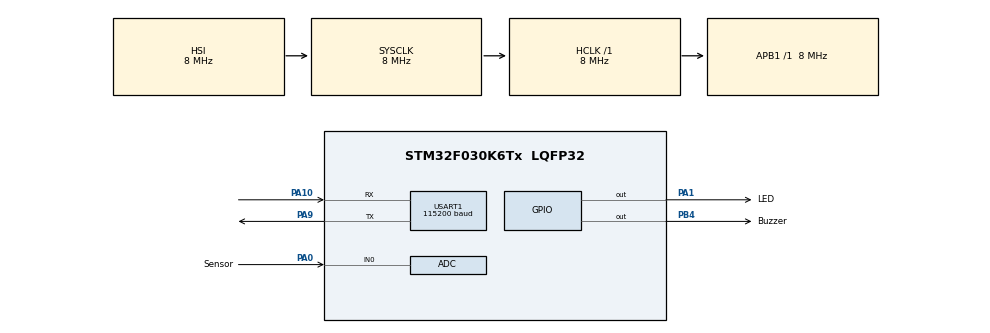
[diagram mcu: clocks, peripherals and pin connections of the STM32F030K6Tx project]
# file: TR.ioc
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Mcu.Family=STM32F0
PA10.Mode=Asynchronous
USART1.BaudRate=115200
PA0.GPIO_Label=Sensor
ProjectManager.StackSize=0x400
USART1.VirtualMode-Asynchronous=VM_ASYNC
PA9.Mode=Asynchronous
ProjectManager.TargetToolchain=STM32CubeIDE
RCC.HCLKFreq_Value=8000000
PA9.Signal=USART1_TX
PA1.Signal=GPIO_Output
RCC.AHBFreq_Value=8000000
board=custom
RCC.PLLMUL=RCC_PLL_MUL12
PB4.GPIO_Label=Buzzer
PA1.GPIO_Label=LED
PA0.Mode=IN0
Mcu.Name=STM32F030K6Tx
PA0.Signal=ADC_IN0
RCC.SYSCLKFreq_VALUE=8000000
Mcu.Package=LQFP32
PA10.Signal=USART1_RX
ProjectManager.HeapSize=0x200
RCC.APB1TimFreq_Value=8000000
RCC.APB1Freq_Value=8000000
PB4.Signal=GPIO_Output

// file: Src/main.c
/* USER CODE BEGIN Header */
/**
  ******************************************************************************
  * @file           : main.c
  * @brief          : Main program body
  ******************************************************************************
  * @attention
  *
  * <h2><center>&copy; Copyright (c) 2021 STMicroelectronics.
  * All rights reserved.</center></h2>
  *
  * This software component is licensed by ST under BSD 3-Clause license,
  * the "License"; You may not use this file except in compliance with the
  * License. You may obtain a copy of the License at:
  *                        opensource.org/licenses/BSD-3-Clause
  *
  ******************************************************************************
  */
/* USER CODE END Header */
#include "main.h"
#include "string.h"
#include <stdio.h>

/* USER CODE BEGIN PD */
#define VREF 5000
#define RL 5
#define RO 10
/* USER CODE END PD */

ADC_HandleTypeDef hadc;

UART_HandleTypeDef huart1;

int __io_putchar(int ch){
	HAL_UART_Transmit(&huart1, (uint8_t*)&ch, 1, 0xFFFF);
}
void SystemClock_Config(void);
static void MX_GPIO_Init(void);
static void MX_ADC_Init(void);
static void MX_USART1_UART_Init(void);

int main(void)
{

  /* MCU Configuration--------------------------------------------------------*/

  /* Reset of all peripherals, Initializes the Flash interface and the Systick. */
  HAL_Init();

  /* Configure the system clock */
  SystemClock_Config();

  /* Initialize all configured peripherals */
  MX_GPIO_Init();
  MX_ADC_Init();
  MX_USART1_UART_Init();

  /* Infinite loop */
  /* USER CODE BEGIN WHILE */
  while (1)
  {
      HAL_ADC_Start(&hadc);
      HAL_ADC_PollForConversion(&hadc, -1);
      int adc = HAL_ADC_GetValue(&hadc);
      HAL_ADC_Stop(&hadc);
      int voltage = (adc * 3300) >> 12;//Vadc*1000

      int voltage_dec = voltage / 1000;
      int voltage_frac = voltage % 1000;

      int Rs = VREF * RL / voltage - RL;//Сопротивление датчика в момент измерения
      int ratio_dec = Rs / RO;
      int ratio_frac = Rs % RO;
      int ratio = ratio_dec*10000 + ratio_frac;

      if (25000 >= ratio){
    	  HAL_GPIO_WritePin(GPIOA, LED_Pin, GPIO_PIN_SET);
    	  HAL_GPIO_WritePin(GPIOB, Buzzer_Pin, GPIO_PIN_SET);
      }else{
    	  HAL_GPIO_WritePin(GPIOB, Buzzer_Pin, GPIO_PIN_RESET);
    	  HAL_GPIO_WritePin(GPIOA, LED_Pin, GPIO_PIN_RESET);
      }
	  printf("voltage = %d.%d ratio = %d.%d\r\n", voltage_dec, voltage_frac, ratio_dec, ratio_frac);

	  HAL_Delay(500);
    /* USER CODE END WHILE */

  }
}

void SystemClock_Config(void)
{
  RCC_OscInitTypeDef RCC_OscInitStruct = {0};
  RCC_ClkInitTypeDef RCC_ClkInitStruct = {0};
  RCC_PeriphCLKInitTypeDef PeriphClkInit = {0};

  /** Initializes the RCC Oscillators according to the specified parameters
  * in the RCC_OscInitTypeDef structure.
  */
  RCC_OscInitStruct.OscillatorType = RCC_OSCILLATORTYPE_HSI|RCC_OSCILLATORTYPE_HSI14;
  RCC_OscInitStruct.HSIState = RCC_HSI_ON;
  RCC_OscInitStruct.HSI14State = RCC_HSI14_ON;
  RCC_OscInitStruct.HSICalibrationValue = RCC_HSICALIBRATION_DEFAULT;
  RCC_OscInitStruct.HSI14CalibrationValue = 16;
  RCC_OscInitStruct.PLL.PLLState = RCC_PLL_NONE;
  if (HAL_RCC_OscConfig(&RCC_OscInitStruct) != HAL_OK)
  {
    Error_Handler();
  }
  /** Initializes the CPU, AHB and APB buses clocks
  */
  RCC_ClkInitStruct.ClockType = RCC_CLOCKTYPE_HCLK|RCC_CLOCKTYPE_SYSCLK
                              |RCC_CLOCKTYPE_PCLK1;
  RCC_ClkInitStruct.SYSCLKSource = RCC_SYSCLKSOURCE_HSI;
  RCC_ClkInitStruct.AHBCLKDivider = RCC_SYSCLK_DIV1;
  RCC_ClkInitStruct.APB1CLKDivider = RCC_HCLK_DIV1;

  if (HAL_RCC_ClockConfig(&RCC_ClkInitStruct, FLASH_LATENCY_0) != HAL_OK)
  {
    Error_Handler();
  }
  PeriphClkInit.PeriphClockSelection = RCC_PERIPHCLK_USART1;
  PeriphClkInit.Usart1ClockSelection = RCC_USART1CLKSOURCE_PCLK1;
  if (HAL_RCCEx_PeriphCLKConfig(&PeriphClkInit) != HAL_OK)
  {
    Error_Handler();
  }
}

static void MX_ADC_Init(void)
{

  ADC_ChannelConfTypeDef sConfig = {0};

  /** Configure the global features of the ADC (Clock, Resolution, Data Alignment and number of conversion)
  */
  hadc.Instance = ADC1;
  hadc.Init.ClockPrescaler = ADC_CLOCK_ASYNC_DIV1;
  hadc.Init.Resolution = ADC_RESOLUTION_12B;
  hadc.Init.DataAlign = ADC_DATAALIGN_RIGHT;
  hadc.Init.ScanConvMode = ADC_SCAN_DIRECTION_FORWARD;
  hadc.Init.EOCSelection = ADC_EOC_SINGLE_CONV;
  hadc.Init.LowPowerAutoWait = DISABLE;
  hadc.Init.LowPowerAutoPowerOff = DISABLE;
  hadc.Init.ContinuousConvMode = DISABLE;
  hadc.Init.DiscontinuousConvMode = DISABLE;
  hadc.Init.ExternalTrigConv = ADC_SOFTWARE_START;
  hadc.Init.ExternalTrigConvEdge = ADC_EXTERNALTRIGCONVEDGE_NONE;
  hadc.Init.DMAContinuousRequests = DISABLE;
  hadc.Init.Overrun = ADC_OVR_DATA_PRESERVED;
  if (HAL_ADC_Init(&hadc) != HAL_OK)
  {
    Error_Handler();
  }
  /** Configure for the selected ADC regular channel to be converted.
  */
  sConfig.Channel = ADC_CHANNEL_0;
  sConfig.Rank = ADC_RANK_CHANNEL_NUMBER;
  sConfig.SamplingTime = ADC_SAMPLETIME_1CYCLE_5;
  if (HAL_ADC_ConfigChannel(&hadc, &sConfig) != HAL_OK)
  {
    Error_Handler();
  }

}

static void MX_USART1_UART_Init(void)
{

  huart1.Instance = USART1;
  huart1.Init.BaudRate = 115200;
  huart1.Init.WordLength = UART_WORDLENGTH_8B;
  huart1.Init.StopBits = UART_STOPBITS_1;
  huart1.Init.Parity = UART_PARITY_NONE;
  huart1.Init.Mode = UART_MODE_TX_RX;
  huart1.Init.HwFlowCtl = UART_HWCONTROL_NONE;
  huart1.Init.OverSampling = UART_OVERSAMPLING_16;
  huart1.Init.OneBitSampling = UART_ONE_BIT_SAMPLE_DISABLE;
  huart1.AdvancedInit.AdvFeatureInit = UART_ADVFEATURE_NO_INIT;
  if (HAL_UART_Init(&huart1) != HAL_OK)
  {
    Error_Handler();
  }

}

static void MX_GPIO_Init(void)
{
  GPIO_InitTypeDef GPIO_InitStruct = {0};

  /* GPIO Ports Clock Enable */
  __HAL_RCC_GPIOA_CLK_ENABLE();
  __HAL_RCC_GPIOB_CLK_ENABLE();

  /*Configure GPIO pin Output Level */
  HAL_GPIO_WritePin(LED_GPIO_Port, LED_Pin, GPIO_PIN_RESET);

  /*Configure GPIO pin Output Level */
  HAL_GPIO_WritePin(Buzzer_GPIO_Port, Buzzer_Pin, GPIO_PIN_RESET);

  /*Configure GPIO pin : LED_Pin */
  GPIO_InitStruct.Pin = LED_Pin;
  GPIO_InitStruct.Mode = GPIO_MODE_OUTPUT_PP;
  GPIO_InitStruct.Pull = GPIO_NOPULL;
  GPIO_InitStruct.Speed = GPIO_SPEED_FREQ_LOW;
  HAL_GPIO_Init(LED_GPIO_Port, &GPIO_InitStruct);

  /*Configure GPIO pin : Buzzer_Pin */
  GPIO_InitStruct.Pin = Buzzer_Pin;
  GPIO_InitStruct.Mode = GPIO_MODE_OUTPUT_PP;
  GPIO_InitStruct.Pull = GPIO_NOPULL;
  GPIO_InitStruct.Speed = GPIO_SPEED_FREQ_LOW;
  HAL_GPIO_Init(Buzzer_GPIO_Port, &GPIO_InitStruct);

}

void Error_Handler(void)
{
  __disable_irq();
  while (1)
  {
  }
}

/************************ (C) COPYRIGHT STMicroelectronics *****END OF FILE****/
